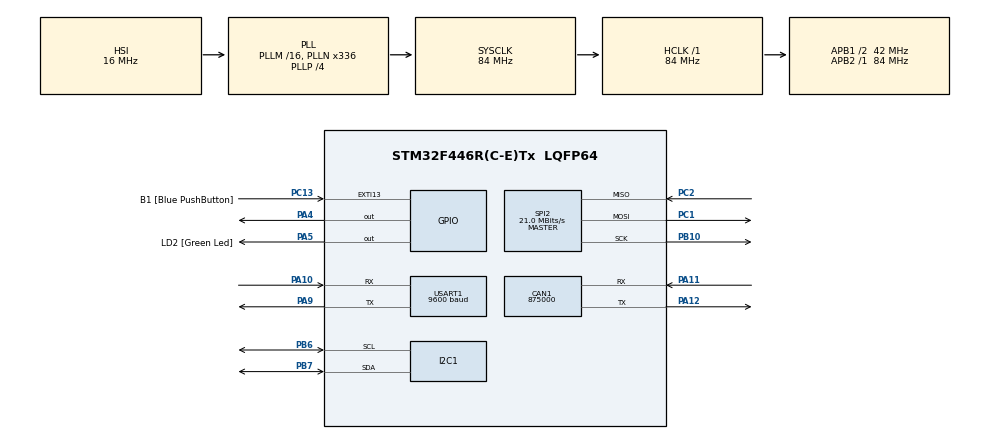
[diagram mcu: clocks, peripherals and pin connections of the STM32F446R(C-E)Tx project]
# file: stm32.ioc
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CAN1.CalculateBaudRate=875000
CAN1.CalculateTimeBit=1142
CAN1.CalculateTimeQuantum=380.95238095238096
FREERTOS.Tasks01=defaultTask,24,128,StartDefaultTask,Default,NULL,Dynamic,NULL,NULL
Mcu.Family=STM32F4
Mcu.Name=STM32F446R(C-E)Tx
Mcu.Package=LQFP64
NVIC.CAN1_RX0_IRQn=true\:5\:0\:false\:false\:true\:true\:true\:true\:true
NVIC.PriorityGroup=NVIC_PRIORITYGROUP_4
NVIC.TIM6_DAC_IRQn=true\:15\:0\:false\:false\:true\:false\:false\:true\:true
NVIC.TimeBase=TIM6_DAC_IRQn
NVIC.TimeBaseIP=TIM6
NVIC.USART1_IRQn=true\:5\:0\:false\:false\:true\:true\:true\:true\:true
PA10.Mode=Asynchronous
PA10.Signal=USART1_RX
PA11.Mode=CAN_Activate
PA11.Signal=CAN1_RX
PA12.Mode=CAN_Activate
PA12.Signal=CAN1_TX
PA13.GPIO_Label=TMS
PA13.Mode=Serial_Wire
PA13.Signal=SYS_JTMS-SWDIO
PA14.GPIO_Label=TCK
PA14.Mode=Serial_Wire
PA14.Signal=SYS_JTCK-SWCLK
PA2.GPIO_Label=USART_TX
PA2.Signal=USART2_TX
PA3.GPIO_Label=USART_RX
PA3.Signal=USART2_RX
PA4.PinState=GPIO_PIN_SET
PA4.Signal=GPIO_Output
PA5.GPIO_Label=LD2 [Green Led]
PA5.Signal=GPIO_Output
PA9.Mode=Asynchronous
PA9.Signal=USART1_TX
PB10.Mode=Full_Duplex_Master
PB10.Signal=SPI2_SCK
PB3.GPIO_Label=SWO
PB3.Signal=SYS_JTDO-SWO
PB6.Mode=I2C
PB6.Signal=I2C1_SCL
PB7.Mode=I2C
PB7.Signal=I2C1_SDA
PC1.Mode=Full_Duplex_Master
PC1.Signal=SPI2_MOSI
PC13.GPIO_Label=B1 [Blue PushButton]
PC13.GPIO_ModeDefaultEXTI=GPIO_MODE_IT_FALLING
PC13.Signal=GPXTI13
PC14-OSC32_IN.Mode=LSE-External-Oscillator
PC14-OSC32_IN.Signal=RCC_OSC32_IN
PC15-OSC32_OUT.Mode=LSE-External-Oscillator
PC15-OSC32_OUT.Signal=RCC_OSC32_OUT
PC2.Mode=Full_Duplex_Master
PC2.Signal=SPI2_MISO
PH0-OSC_IN.Mode=HSE-External-Oscillator
PH0-OSC_IN.Signal=RCC_OSC_IN
PH1-OSC_OUT.Mode=HSE-External-Oscillator
PH1-OSC_OUT.Signal=RCC_OSC_OUT
ProjectManager.HeapSize=0x200
ProjectManager.StackSize=0x400
ProjectManager.TargetToolchain=STM32CubeIDE
RCC.48MHZClocksFreq_Value=84000000
RCC.AHBFreq_Value=84000000
RCC.APB1CLKDivider=RCC_HCLK_DIV2
RCC.APB1Freq_Value=42000000
RCC.APB1TimFreq_Value=84000000
RCC.APB2Freq_Value=84000000
RCC.APB2TimFreq_Value=84000000
RCC.CortexFreq_Value=84000000
RCC.FLatency-AdvancedSettings=FLASH_LATENCY_2
RCC.HCLKFreq_Value=84000000
RCC.HSE_VALUE=8000000
RCC.HSI_VALUE=16000000
RCC.PLLN=336
RCC.PLLP=RCC_PLLP_DIV4
RCC.SYSCLKFreq_VALUE=84000000
RCC.SYSCLKSource=RCC_SYSCLKSOURCE_PLLCLK
RCC.USBFreq_Value=168000000
RCC.VCOOutputFreq_Value=336000000
SPI2.CalculateBaudRate=21.0 MBits/s
SPI2.Direction=SPI_DIRECTION_2LINES
SPI2.Mode=SPI_MODE_MASTER
SPI2.VirtualType=VM_MASTER
USART1.BaudRate=9600
USART1.VirtualMode=VM_ASYNC
VP_FREERTOS_VS_CMSIS_V2.Mode=CMSIS_V2
VP_SYS_VS_tim6.Mode=TIM6
board=NUCLEO-F446RE

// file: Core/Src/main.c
/* USER CODE BEGIN Header */
/**
 ******************************************************************************
 * @file           : main.c
 * @brief          : Main program body
 ******************************************************************************
 * @attention
 *
 * Copyright (c) 2025 STMicroelectronics.
 * All rights reserved.
 *
 * This software is licensed under terms that can be found in the LICENSE file
 * in the root directory of this software component.
 * If no LICENSE file comes with this software, it is provided AS-IS.
 *
 ******************************************************************************
 */
/* USER CODE END Header */
#include "main.h"
#include "cmsis_os.h"

/* USER CODE BEGIN Includes */
#include "bme280.h"
#include "neo6m.h"

/* USER CODE END Includes */

CAN_HandleTypeDef hcan1;

I2C_HandleTypeDef hi2c1;

SPI_HandleTypeDef hspi2;

UART_HandleTypeDef huart1;

/* Definitions for defaultTask */
osThreadId_t defaultTaskHandle;
const osThreadAttr_t defaultTask_attributes = {
        .name = "defaultTask",
        .stack_size = 128 * 4,
        .priority = (osPriority_t) osPriorityNormal,
};
/* USER CODE BEGIN PV */
BME280_Handle_t bme;
BME280_Config_t bme_cfg;
BME280_Data_t bme_data;

NEO6M_Handle_t neo;

/* USER CODE END PV */

void SystemClock_Config(void);
static void MX_GPIO_Init(void);
static void MX_I2C1_Init(void);
static void MX_SPI2_Init(void);
static void MX_CAN1_Init(void);
static void MX_USART1_UART_Init(void);
void StartDefaultTask(void *argument);

int main(void)
{

    /* MCU Configuration--------------------------------------------------------*/

    /* Reset of all peripherals, Initializes the Flash interface and the Systick. */
    HAL_Init();

    /* Configure the system clock */
    SystemClock_Config();

    /* Initialize all configured peripherals */
    MX_GPIO_Init();
    MX_I2C1_Init();
    MX_SPI2_Init();
    MX_CAN1_Init();
    HAL_UART_DeInit(&huart1);
    MX_USART1_UART_Init();
    /* USER CODE BEGIN 2 */

    bme.hi2c = &hi2c1;
    bme.address = BME280_ADDRESS;

    bme_cfg.osrs_t = BME280_OSRS_1;
    bme_cfg.osrs_p = BME280_OSRS_1;
    bme_cfg.osrs_h = BME280_OSRS_1;
    bme_cfg.mode = BME280_MODE_NORMAL;
    bme_cfg.standby = BME280_STANDBY_0_5;
    bme_cfg.filter = BME280_FILTER_16;

#if 0
    if (BME280_Init(&bme, &bme_cfg) != BME280_OK)
    {
        Error_Handler();
    }
#endif

    neo.huart = &huart1;

    if (NEO6M_Init(&neo) != NEO6M_OK)
    {
        Error_Handler();
    }

    /* USER CODE END 2 */

    /* Init scheduler */
    osKernelInitialize();

    /* Create the thread(s) */
    /* creation of defaultTask */
    defaultTaskHandle = osThreadNew(StartDefaultTask, NULL, &defaultTask_attributes);

    /* Start scheduler */
    osKernelStart();

    /* We should never get here as control is now taken by the scheduler */

    /* Infinite loop */

}

void SystemClock_Config(void)
{
    RCC_OscInitTypeDef RCC_OscInitStruct = {0};
    RCC_ClkInitTypeDef RCC_ClkInitStruct = {0};

    /** Configure the main internal regulator output voltage
     */
    __HAL_RCC_PWR_CLK_ENABLE();
    __HAL_PWR_VOLTAGESCALING_CONFIG(PWR_REGULATOR_VOLTAGE_SCALE3);

    /** Initializes the RCC Oscillators according to the specified parameters
     * in the RCC_OscInitTypeDef structure.
     */
    RCC_OscInitStruct.OscillatorType = RCC_OSCILLATORTYPE_HSI;
    RCC_OscInitStruct.HSIState = RCC_HSI_ON;
    RCC_OscInitStruct.HSICalibrationValue = RCC_HSICALIBRATION_DEFAULT;
    RCC_OscInitStruct.PLL.PLLState = RCC_PLL_ON;
    RCC_OscInitStruct.PLL.PLLSource = RCC_PLLSOURCE_HSI;
    RCC_OscInitStruct.PLL.PLLM = 16;
    RCC_OscInitStruct.PLL.PLLN = 336;
    RCC_OscInitStruct.PLL.PLLP = RCC_PLLP_DIV4;
    RCC_OscInitStruct.PLL.PLLQ = 2;
    RCC_OscInitStruct.PLL.PLLR = 2;
    if (HAL_RCC_OscConfig(&RCC_OscInitStruct) != HAL_OK)
    {
        Error_Handler();
    }

    /** Initializes the CPU, AHB and APB buses clocks
     */
    RCC_ClkInitStruct.ClockType = RCC_CLOCKTYPE_HCLK|RCC_CLOCKTYPE_SYSCLK
            |RCC_CLOCKTYPE_PCLK1|RCC_CLOCKTYPE_PCLK2;
    RCC_ClkInitStruct.SYSCLKSource = RCC_SYSCLKSOURCE_PLLCLK;
    RCC_ClkInitStruct.AHBCLKDivider = RCC_SYSCLK_DIV1;
    RCC_ClkInitStruct.APB1CLKDivider = RCC_HCLK_DIV2;
    RCC_ClkInitStruct.APB2CLKDivider = RCC_HCLK_DIV1;

    if (HAL_RCC_ClockConfig(&RCC_ClkInitStruct, FLASH_LATENCY_2) != HAL_OK)
    {
        Error_Handler();
    }
}

static void MX_CAN1_Init(void)
{

    hcan1.Instance = CAN1;
    hcan1.Init.Prescaler = 16;
    hcan1.Init.Mode = CAN_MODE_NORMAL;
    hcan1.Init.SyncJumpWidth = CAN_SJW_1TQ;
    hcan1.Init.TimeSeg1 = CAN_BS1_1TQ;
    hcan1.Init.TimeSeg2 = CAN_BS2_1TQ;
    hcan1.Init.TimeTriggeredMode = DISABLE;
    hcan1.Init.AutoBusOff = DISABLE;
    hcan1.Init.AutoWakeUp = DISABLE;
    hcan1.Init.AutoRetransmission = DISABLE;
    hcan1.Init.ReceiveFifoLocked = DISABLE;
    hcan1.Init.TransmitFifoPriority = DISABLE;
    if (HAL_CAN_Init(&hcan1) != HAL_OK)
    {
        Error_Handler();
    }

}

static void MX_I2C1_Init(void)
{

    hi2c1.Instance = I2C1;
    hi2c1.Init.ClockSpeed = 100000;
    hi2c1.Init.DutyCycle = I2C_DUTYCYCLE_2;
    hi2c1.Init.OwnAddress1 = 0;
    hi2c1.Init.AddressingMode = I2C_ADDRESSINGMODE_7BIT;
    hi2c1.Init.DualAddressMode = I2C_DUALADDRESS_DISABLE;
    hi2c1.Init.OwnAddress2 = 0;
    hi2c1.Init.GeneralCallMode = I2C_GENERALCALL_DISABLE;
    hi2c1.Init.NoStretchMode = I2C_NOSTRETCH_DISABLE;
    if (HAL_I2C_Init(&hi2c1) != HAL_OK)
    {
        Error_Handler();
    }

}

static void MX_SPI2_Init(void)
{

    /* SPI2 parameter configuration*/
    hspi2.Instance = SPI2;
    hspi2.Init.Mode = SPI_MODE_MASTER;
    hspi2.Init.Direction = SPI_DIRECTION_2LINES;
    hspi2.Init.DataSize = SPI_DATASIZE_8BIT;
    hspi2.Init.CLKPolarity = SPI_POLARITY_LOW;
    hspi2.Init.CLKPhase = SPI_PHASE_1EDGE;
    hspi2.Init.NSS = SPI_NSS_SOFT;
    hspi2.Init.BaudRatePrescaler = SPI_BAUDRATEPRESCALER_2;
    hspi2.Init.FirstBit = SPI_FIRSTBIT_MSB;
    hspi2.Init.TIMode = SPI_TIMODE_DISABLE;
    hspi2.Init.CRCCalculation = SPI_CRCCALCULATION_DISABLE;
    hspi2.Init.CRCPolynomial = 10;
    if (HAL_SPI_Init(&hspi2) != HAL_OK)
    {
        Error_Handler();
    }

}

static void MX_USART1_UART_Init(void)
{

    huart1.Instance = USART1;
    huart1.Init.BaudRate = 9600;
    huart1.Init.WordLength = UART_WORDLENGTH_8B;
    huart1.Init.StopBits = UART_STOPBITS_1;
    huart1.Init.Parity = UART_PARITY_NONE;
    huart1.Init.Mode = UART_MODE_TX_RX;
    huart1.Init.HwFlowCtl = UART_HWCONTROL_NONE;
    huart1.Init.OverSampling = UART_OVERSAMPLING_16;
    if (HAL_UART_Init(&huart1) != HAL_OK)
    {
        Error_Handler();
    }

}

static void MX_GPIO_Init(void)
{
    GPIO_InitTypeDef GPIO_InitStruct = {0};

    /* GPIO Ports Clock Enable */
    __HAL_RCC_GPIOC_CLK_ENABLE();
    __HAL_RCC_GPIOH_CLK_ENABLE();
    __HAL_RCC_GPIOA_CLK_ENABLE();
    __HAL_RCC_GPIOB_CLK_ENABLE();

    /*Configure GPIO pin Output Level */
    HAL_GPIO_WritePin(GPIOA, GPIO_PIN_4, GPIO_PIN_SET);

    /*Configure GPIO pin Output Level */
    HAL_GPIO_WritePin(LD2_GPIO_Port, LD2_Pin, GPIO_PIN_RESET);

    /*Configure GPIO pin : B1_Pin */
    GPIO_InitStruct.Pin = B1_Pin;
    GPIO_InitStruct.Mode = GPIO_MODE_IT_FALLING;
    GPIO_InitStruct.Pull = GPIO_NOPULL;
    HAL_GPIO_Init(B1_GPIO_Port, &GPIO_InitStruct);

    /*Configure GPIO pins : USART_TX_Pin USART_RX_Pin */
    GPIO_InitStruct.Pin = USART_TX_Pin|USART_RX_Pin;
    GPIO_InitStruct.Mode = GPIO_MODE_AF_PP;
    GPIO_InitStruct.Pull = GPIO_NOPULL;
    GPIO_InitStruct.Speed = GPIO_SPEED_FREQ_VERY_HIGH;
    GPIO_InitStruct.Alternate = GPIO_AF7_USART2;
    HAL_GPIO_Init(GPIOA, &GPIO_InitStruct);

    /*Configure GPIO pins : PA4 LD2_Pin */
    GPIO_InitStruct.Pin = GPIO_PIN_4|LD2_Pin;
    GPIO_InitStruct.Mode = GPIO_MODE_OUTPUT_PP;
    GPIO_InitStruct.Pull = GPIO_NOPULL;
    GPIO_InitStruct.Speed = GPIO_SPEED_FREQ_LOW;
    HAL_GPIO_Init(GPIOA, &GPIO_InitStruct);

}

/* USER CODE BEGIN 4 */

void HAL_UART_RxCpltCallback(UART_HandleTypeDef *huart)
{
    if (huart == neo.huart)
    {
        NEO6M_UART_CallBack(&neo);
    }
}

/* USER CODE END 4 */

void StartDefaultTask(void *argument)
{
    /* USER CODE BEGIN 5 */
    /* Infinite loop */
    for(;;)
    {
        //BME280_Data_t data;
        //BME280_ReadAll(&bme, &data);

        //osDelay(1);

        if (neo.gps_data.valid_fix)
        {
            osDelay(1000);
        }

        osDelay(500);
    }
    /* USER CODE END 5 */
}

void HAL_TIM_PeriodElapsedCallback(TIM_HandleTypeDef *htim)
{
    if (htim->Instance == TIM6)
    {
        HAL_IncTick();
    }
}

void Error_Handler(void)
{
    __disable_irq();
    while (1) {
    }
}
